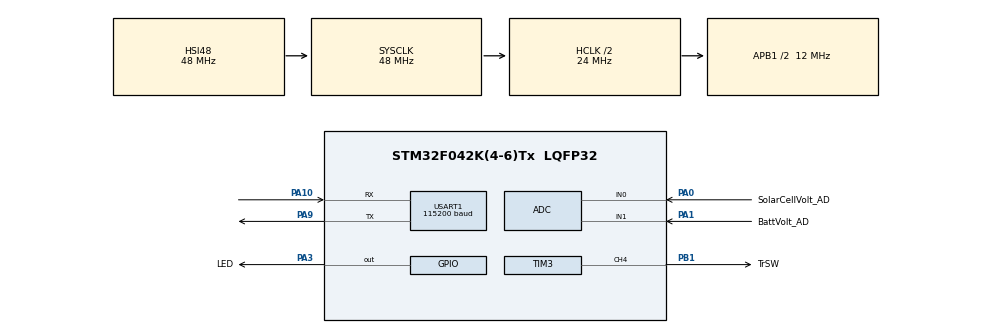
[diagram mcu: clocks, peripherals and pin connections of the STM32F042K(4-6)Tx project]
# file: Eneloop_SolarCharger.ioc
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ADC.ClockPrescaler=ADC_CLOCK_SYNC_PCLK_DIV4
ADC.ContinuousConvMode=ENABLE
ADC.DMAContinuousRequests=ENABLE
ADC.EOCSelection=ADC_EOC_SEQ_CONV
ADC.ExternalTrigConv=ADC_EXTERNALTRIGCONV_T1_TRGO
ADC.LowPowerAutoPowerOff=DISABLE
ADC.LowPowerAutoWait=DISABLE
ADC.SamplingTime=ADC_SAMPLETIME_55CYCLES_5
Dma.ADC.0.Direction=DMA_PERIPH_TO_MEMORY
Dma.ADC.0.Instance=DMA1_Channel1
Dma.ADC.0.MemDataAlignment=DMA_MDATAALIGN_HALFWORD
Dma.ADC.0.MemInc=DMA_MINC_ENABLE
Dma.ADC.0.Mode=DMA_CIRCULAR
Dma.ADC.0.PeriphDataAlignment=DMA_PDATAALIGN_HALFWORD
Dma.ADC.0.PeriphInc=DMA_PINC_DISABLE
Dma.ADC.0.Priority=DMA_PRIORITY_HIGH
Dma.Request0=ADC
Mcu.Family=STM32F0
Mcu.Name=STM32F042K(4-6)Tx
Mcu.Package=LQFP32
NVIC.ADC1_IRQn=true\:0\:0\:false\:false\:true\:true\:true
NVIC.DMA1_Channel1_IRQn=true\:0\:0\:false\:false\:true\:false\:true
NVIC.TIM14_IRQn=true\:0\:0\:false\:false\:true\:true\:true
PA0.GPIO_Label=SolarCellVolt_AD
PA0.Mode=IN0
PA0.Signal=ADC_IN0
PA1.GPIO_Label=BattVolt_AD
PA1.Mode=IN1
PA1.Signal=ADC_IN1
PA10.Mode=Asynchronous
PA10.Signal=USART1_RX
PA13.Mode=Serial_Wire
PA13.Signal=SYS_SWDIO
PA14.Mode=Serial_Wire
PA14.Signal=SYS_SWCLK
PA3.GPIO_Label=LED
PA3.GPIO_PuPd=GPIO_NOPULL
PA3.PinState=GPIO_PIN_SET
PA3.Signal=GPIO_Output
PA9.Mode=Asynchronous
PA9.Signal=USART1_TX
PB1.GPIO_Label=TrSW
PB1.GPIO_Speed=GPIO_SPEED_FREQ_HIGH
PB1.Signal=S_TIM3_CH4
ProjectManager.HeapSize=0x200
ProjectManager.StackSize=0x400
ProjectManager.TargetToolchain=Makefile
RCC.AHBCLKDivider=RCC_SYSCLK_DIV2
RCC.AHBFreq_Value=24000000
RCC.APB1CLKDivider=RCC_HCLK_DIV2
RCC.APB1Freq_Value=12000000
RCC.APB1TimFreq_Value=24000000
RCC.HCLKFreq_Value=24000000
RCC.SYSCLKFreq_VALUE=48000000
RCC.SYSCLKSource=RCC_SYSCLKSOURCE_HSI48
SH.S_TIM3_CH4.0=TIM3_CH4,PWM Generation4 CH4
TIM1.AutoReloadPreload=TIM_AUTORELOAD_PRELOAD_ENABLE
TIM1.Period=1000-1
TIM1.Prescaler=24-1
TIM1.TIM_MasterOutputTrigger=TIM_TRGO_UPDATE
TIM14.AutoReloadPreload=TIM_AUTORELOAD_PRELOAD_ENABLE
TIM14.Period=1000-1
TIM14.Prescaler=24-1
TIM3.AutoReloadPreload=TIM_AUTORELOAD_PRELOAD_ENABLE
TIM3.Channel-PWM\ Generation4\ CH4=TIM_CHANNEL_4
TIM3.OCPolarity_4=TIM_OCPOLARITY_LOW
TIM3.Period=(24*20)-1
TIM3.Prescaler=0
TIM3.TIM_MasterOutputTrigger=TIM_TRGO_RESET
USART1.BaudRate=115200
USART1.DMADisableonRxErrorParam=ADVFEATURE_DMA_DISABLEONRXERROR
USART1.OverrunDisableParam=ADVFEATURE_OVERRUN_DISABLE
USART1.VirtualMode-Asynchronous=VM_ASYNC
VP_ADC_TempSens_Input.Mode=IN-TempSens
VP_ADC_Vref_Input.Mode=IN-Vrefint
VP_TIM14_VS_ClockSourceINT.Mode=Enable_Timer
VP_TIM1_VS_ClockSourceINT.Mode=Internal
board=custom

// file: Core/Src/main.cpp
/* USER CODE BEGIN Header */
/**
  ******************************************************************************
  * @file           : main.c
  * @brief          : Main program body
  ******************************************************************************
  * @attention
  *
  * <h2><center>&copy; Copyright (c) 2020 STMicroelectronics.
  * All rights reserved.</center></h2>
  *
  * This software component is licensed by ST under BSD 3-Clause license,
  * the "License"; You may not use this file except in compliance with the
  * License. You may obtain a copy of the License at:
  *                        opensource.org/licenses/BSD-3-Clause
  *
  ******************************************************************************
  */
/* USER CODE END Header */

#include "main.h"

/* USER CODE BEGIN Includes */
#include <algorithm>
#include <xprintf.h>
#include <UARTOut.hpp>
/* USER CODE END Includes */

ADC_HandleTypeDef hadc;
DMA_HandleTypeDef hdma_adc;

TIM_HandleTypeDef htim1;
TIM_HandleTypeDef htim3;
TIM_HandleTypeDef htim14;

UART_HandleTypeDef huart1;

/* USER CODE BEGIN PV */
static constexpr uint32_t sk_BattChargeFinishTime = 500;       // バッテリ充電終了判定時間[10ms]

// ローパスフィルタの定数
// Cutoff   = 0.01s  = 100[Hz]
// Sampling = 0.1ms  = 0.0001[s]
// Const = (Cutoff / (Cutoff + Sampling)) = 0.909091 ≒ 0.909
static constexpr uint32_t sk_LPF_Precision          = 1000;
static constexpr uint32_t sk_SolarPanelVoltLPFConst = 909;
static constexpr uint32_t sk_BattVoltLPFConst       = 909;
static constexpr uint32_t sk_ADCRefVoltLPFConst     = 909;

static constexpr uint32_t sk_SolarPanelOpenVoltDiff = 10;               // 開放電圧測定時差分電圧[mV]
static constexpr uint32_t sk_SolarPanelOpenVoltSensStableTime = 5;      // 開放電圧測定安定回数

static constexpr uint32_t sk_ADC_Covnert_DataSize = 4;
static uint16_t s_ADC_ConvertData[sk_ADC_Covnert_DataSize];

static int s_10msTickCount = 0;
static bool s_10msHandlerInvoke = false;
static int s_100msTickCount = 0;
static bool s_100msHandlerInvoke = false;
static int s_1sTickCount = 0;
static bool s_1sHandlerInvoke = false;

static uint32_t s_LED_BlinkTime = 0;                        // LED 点滅時間[10ms]
static uint32_t s_LED_BlinkCnt = 0;
static int s_LED_Light = 0;

static uint32_t s_MPPT_PWMWidth = 0;

static uint32_t s_BattMillVolt = 0;
static uint32_t s_BattChargeFinishMillVolt = 1450;
static uint32_t s_BattChargeFinishCnt = 0;
static bool s_IsBattChargeFinish = false;

static uint32_t s_SolarPanelMillVolt = 0;
static uint32_t s_SolarPanel_MPPT_TargetMillVolt = 0;
static bool s_IsSolarPanelOpenVoltSensing = false;
static bool s_IsSolarPanelVoltDetect = false;
static uint32_t s_SolarPanelVoltSensCnt = 0;
static uint16_t s_SolarPanelVoltBuffBefore;
static uint16_t s_SolarPanelVoltBuff;

static uint32_t s_ADCRefMillVolt = 0;

/* USER CODE END PV */

void SystemClock_Config(void);
static void MX_GPIO_Init(void);
static void MX_DMA_Init(void);
static void MX_ADC_Init(void);
static void MX_TIM3_Init(void);
static void MX_USART1_UART_Init(void);
static void MX_TIM1_Init(void);
static void MX_TIM14_Init(void);
/* USER CODE BEGIN PFP */
static void PWM_SetValue( uint32_t value );
static void MPPT_SetPWMWidth();
static void MPPT_CheckSolarPanelMPPTVolt();
static void CheckBattChargeFinished();
static void Set_LEDBlinkTime( uint32_t time_ms );
static void Update_LED();
static void Show_LED();
static void Show_Voltage();
static uint32_t SenseSolarPanelOpenVolt();
static uint32_t SolarPanel_ADCValToMillVolt( uint32_t adcval );
static uint32_t Batt_ADCValToMillVolt( uint32_t adcval );
static uint32_t Get_SolarPanelPWMScale();
static uint32_t Get_SolarPanelVolt();

static void MsTimerHandler();
void HAL_TIM_PeriodElapsedCallback(TIM_HandleTypeDef *htim);
void HAL_ADC_ConvHalfCpltCallback(ADC_HandleTypeDef* hadc);
/* USER CODE END PFP */

int main(void)
{

  /* MCU Configuration--------------------------------------------------------*/

  /* Reset of all peripherals, Initializes the Flash interface and the Systick. */
  HAL_Init();

  /* Configure the system clock */
  SystemClock_Config();

  /* Initialize all configured peripherals */
  MX_GPIO_Init();
  MX_DMA_Init();
  MX_ADC_Init();
  MX_TIM3_Init();
  MX_USART1_UART_Init();
  MX_TIM1_Init();
  MX_TIM14_Init();
  /* USER CODE BEGIN 2 */

  // PWM Timer Start
  HAL_TIM_PWM_Start( &htim3, TIM_CHANNEL_4 );
  HAL_TIM_Base_Start_IT(&htim1);
  HAL_TIM_Base_Start_IT(&htim3);
  HAL_TIM_Base_Start_IT(&htim14);

  HAL_ADCEx_Calibration_Start(&hadc);

  HAL_ADC_Start_DMA( &hadc,
                     (uint32_t *)s_ADC_ConvertData,
                     sk_ADC_Covnert_DataSize
  );

  // xprintf initialize (set callback func)
  xfunc_out = OutputFunc;

  xprintf( "Initialize complete!\n" );

  /* USER CODE END 2 */

  /* Infinite loop */
  /* USER CODE BEGIN WHILE */
  while (1)
  {
    if( s_10msHandlerInvoke ){
      //xprintf( "10ms handler invoke.\n" );
      s_10msHandlerInvoke = false;

      if( s_IsBattChargeFinish ){
        // PWMを停止
        s_MPPT_PWMWidth = 0;
        PWM_SetValue( s_MPPT_PWMWidth );
        Set_LEDBlinkTime( 100 );
      }
      else {
        MPPT_SetPWMWidth();
        CheckBattChargeFinished();
        Set_LEDBlinkTime( 0 );
      }

      Update_LED();
    }
    if( s_100msHandlerInvoke ){
      xprintf( "100ms handler invoke.\n" );
      s_100msHandlerInvoke = false;
      MPPT_CheckSolarPanelMPPTVolt();
    }
    if( s_1sHandlerInvoke ){
      xprintf( "1s handler invoke.\n" );
      s_1sHandlerInvoke = false;
      Show_Voltage();
    }

    Show_LED();
    /* USER CODE END WHILE */

    /* USER CODE BEGIN 3 */
  }

  asm( "wfi ");
  /* USER CODE END 3 */
}

void SystemClock_Config(void)
{
  RCC_OscInitTypeDef RCC_OscInitStruct = {0};
  RCC_ClkInitTypeDef RCC_ClkInitStruct = {0};
  RCC_PeriphCLKInitTypeDef PeriphClkInit = {0};

  /** Initializes the RCC Oscillators according to the specified parameters
  * in the RCC_OscInitTypeDef structure.
  */
  RCC_OscInitStruct.OscillatorType = RCC_OSCILLATORTYPE_HSI48;
  RCC_OscInitStruct.HSI48State = RCC_HSI48_ON;
  RCC_OscInitStruct.PLL.PLLState = RCC_PLL_NONE;
  if (HAL_RCC_OscConfig(&RCC_OscInitStruct) != HAL_OK)
  {
    Error_Handler();
  }
  /** Initializes the CPU, AHB and APB buses clocks
  */
  RCC_ClkInitStruct.ClockType = RCC_CLOCKTYPE_HCLK|RCC_CLOCKTYPE_SYSCLK
                              |RCC_CLOCKTYPE_PCLK1;
  RCC_ClkInitStruct.SYSCLKSource = RCC_SYSCLKSOURCE_HSI48;
  RCC_ClkInitStruct.AHBCLKDivider = RCC_SYSCLK_DIV2;
  RCC_ClkInitStruct.APB1CLKDivider = RCC_HCLK_DIV2;

  if (HAL_RCC_ClockConfig(&RCC_ClkInitStruct, FLASH_LATENCY_1) != HAL_OK)
  {
    Error_Handler();
  }
  PeriphClkInit.PeriphClockSelection = RCC_PERIPHCLK_USART1;
  PeriphClkInit.Usart1ClockSelection = RCC_USART1CLKSOURCE_PCLK1;
  if (HAL_RCCEx_PeriphCLKConfig(&PeriphClkInit) != HAL_OK)
  {
    Error_Handler();
  }
}

static void MX_ADC_Init(void)
{

  ADC_ChannelConfTypeDef sConfig = {0};

  /** Configure the global features of the ADC (Clock, Resolution, Data Alignment and number of conversion)
  */
  hadc.Instance = ADC1;
  hadc.Init.ClockPrescaler = ADC_CLOCK_SYNC_PCLK_DIV4;
  hadc.Init.Resolution = ADC_RESOLUTION_12B;
  hadc.Init.DataAlign = ADC_DATAALIGN_RIGHT;
  hadc.Init.ScanConvMode = ADC_SCAN_DIRECTION_FORWARD;
  hadc.Init.EOCSelection = ADC_EOC_SEQ_CONV;
  hadc.Init.LowPowerAutoWait = DISABLE;
  hadc.Init.LowPowerAutoPowerOff = DISABLE;
  hadc.Init.ContinuousConvMode = ENABLE;
  hadc.Init.DiscontinuousConvMode = DISABLE;
  hadc.Init.ExternalTrigConv = ADC_EXTERNALTRIGCONV_T1_TRGO;
  hadc.Init.ExternalTrigConvEdge = ADC_EXTERNALTRIGCONVEDGE_RISING;
  hadc.Init.DMAContinuousRequests = ENABLE;
  hadc.Init.Overrun = ADC_OVR_DATA_PRESERVED;
  if (HAL_ADC_Init(&hadc) != HAL_OK)
  {
    Error_Handler();
  }
  /** Configure for the selected ADC regular channel to be converted.
  */
  sConfig.Channel = ADC_CHANNEL_0;
  sConfig.Rank = ADC_RANK_CHANNEL_NUMBER;
  sConfig.SamplingTime = ADC_SAMPLETIME_55CYCLES_5;
  if (HAL_ADC_ConfigChannel(&hadc, &sConfig) != HAL_OK)
  {
    Error_Handler();
  }
  /** Configure for the selected ADC regular channel to be converted.
  */
  sConfig.Channel = ADC_CHANNEL_1;
  if (HAL_ADC_ConfigChannel(&hadc, &sConfig) != HAL_OK)
  {
    Error_Handler();
  }
  /** Configure for the selected ADC regular channel to be converted.
  */
  sConfig.Channel = ADC_CHANNEL_TEMPSENSOR;
  if (HAL_ADC_ConfigChannel(&hadc, &sConfig) != HAL_OK)
  {
    Error_Handler();
  }
  /** Configure for the selected ADC regular channel to be converted.
  */
  sConfig.Channel = ADC_CHANNEL_VREFINT;
  if (HAL_ADC_ConfigChannel(&hadc, &sConfig) != HAL_OK)
  {
    Error_Handler();
  }

}

static void MX_TIM1_Init(void)
{

  TIM_ClockConfigTypeDef sClockSourceConfig = {0};
  TIM_MasterConfigTypeDef sMasterConfig = {0};

  htim1.Instance = TIM1;
  htim1.Init.Prescaler = 24-1;
  htim1.Init.CounterMode = TIM_COUNTERMODE_UP;
  htim1.Init.Period = 100-1;
  htim1.Init.ClockDivision = TIM_CLOCKDIVISION_DIV1;
  htim1.Init.RepetitionCounter = 0;
  htim1.Init.AutoReloadPreload = TIM_AUTORELOAD_PRELOAD_ENABLE;
  if (HAL_TIM_Base_Init(&htim1) != HAL_OK)
  {
    Error_Handler();
  }
  sClockSourceConfig.ClockSource = TIM_CLOCKSOURCE_INTERNAL;
  if (HAL_TIM_ConfigClockSource(&htim1, &sClockSourceConfig) != HAL_OK)
  {
    Error_Handler();
  }
  sMasterConfig.MasterOutputTrigger = TIM_TRGO_UPDATE;
  sMasterConfig.MasterSlaveMode = TIM_MASTERSLAVEMODE_DISABLE;
  if (HAL_TIMEx_MasterConfigSynchronization(&htim1, &sMasterConfig) != HAL_OK)
  {
    Error_Handler();
  }

}

static void MX_TIM3_Init(void)
{

  TIM_MasterConfigTypeDef sMasterConfig = {0};
  TIM_OC_InitTypeDef sConfigOC = {0};

  htim3.Instance = TIM3;
  htim3.Init.Prescaler = 0;
  htim3.Init.CounterMode = TIM_COUNTERMODE_UP;
  htim3.Init.Period = (24*50)-1;
  htim3.Init.ClockDivision = TIM_CLOCKDIVISION_DIV1;
  htim3.Init.AutoReloadPreload = TIM_AUTORELOAD_PRELOAD_ENABLE;
  if (HAL_TIM_PWM_Init(&htim3) != HAL_OK)
  {
    Error_Handler();
  }
  sMasterConfig.MasterOutputTrigger = TIM_TRGO_RESET;
  sMasterConfig.MasterSlaveMode = TIM_MASTERSLAVEMODE_DISABLE;
  if (HAL_TIMEx_MasterConfigSynchronization(&htim3, &sMasterConfig) != HAL_OK)
  {
    Error_Handler();
  }
  sConfigOC.OCMode = TIM_OCMODE_PWM1;
  sConfigOC.Pulse = 0;
  sConfigOC.OCPolarity = TIM_OCPOLARITY_HIGH;
  sConfigOC.OCFastMode = TIM_OCFAST_DISABLE;
  if (HAL_TIM_PWM_ConfigChannel(&htim3, &sConfigOC, TIM_CHANNEL_4) != HAL_OK)
  {
    Error_Handler();
  }
  HAL_TIM_MspPostInit(&htim3);

}

static void MX_TIM14_Init(void)
{

  htim14.Instance = TIM14;
  htim14.Init.Prescaler = 24-1;
  htim14.Init.CounterMode = TIM_COUNTERMODE_UP;
  htim14.Init.Period = 1000-1;
  htim14.Init.ClockDivision = TIM_CLOCKDIVISION_DIV1;
  htim14.Init.AutoReloadPreload = TIM_AUTORELOAD_PRELOAD_ENABLE;
  if (HAL_TIM_Base_Init(&htim14) != HAL_OK)
  {
    Error_Handler();
  }

}

static void MX_USART1_UART_Init(void)
{

  huart1.Instance = USART1;
  huart1.Init.BaudRate = 115200;
  huart1.Init.WordLength = UART_WORDLENGTH_8B;
  huart1.Init.StopBits = UART_STOPBITS_1;
  huart1.Init.Parity = UART_PARITY_NONE;
  huart1.Init.Mode = UART_MODE_TX_RX;
  huart1.Init.HwFlowCtl = UART_HWCONTROL_NONE;
  huart1.Init.OverSampling = UART_OVERSAMPLING_16;
  huart1.Init.OneBitSampling = UART_ONE_BIT_SAMPLE_DISABLE;
  huart1.AdvancedInit.AdvFeatureInit = UART_ADVFEATURE_RXOVERRUNDISABLE_INIT|UART_ADVFEATURE_DMADISABLEONERROR_INIT;
  huart1.AdvancedInit.OverrunDisable = UART_ADVFEATURE_OVERRUN_DISABLE;
  huart1.AdvancedInit.DMADisableonRxError = UART_ADVFEATURE_DMA_DISABLEONRXERROR;
  if (HAL_UART_Init(&huart1) != HAL_OK)
  {
    Error_Handler();
  }

}

static void MX_DMA_Init(void)
{

  /* DMA controller clock enable */
  __HAL_RCC_DMA1_CLK_ENABLE();

  /* DMA interrupt init */
  /* DMA1_Channel1_IRQn interrupt configuration */
  HAL_NVIC_SetPriority(DMA1_Channel1_IRQn, 0, 0);
  HAL_NVIC_EnableIRQ(DMA1_Channel1_IRQn);

}

static void MX_GPIO_Init(void)
{
  GPIO_InitTypeDef GPIO_InitStruct = {0};

  /* GPIO Ports Clock Enable */
  __HAL_RCC_GPIOA_CLK_ENABLE();
  __HAL_RCC_GPIOB_CLK_ENABLE();

  /*Configure GPIO pin Output Level */
  HAL_GPIO_WritePin(LED_GPIO_Port, LED_Pin, GPIO_PIN_SET);

  /*Configure GPIO pin : LED_Pin */
  GPIO_InitStruct.Pin = LED_Pin;
  GPIO_InitStruct.Mode = GPIO_MODE_OUTPUT_PP;
  GPIO_InitStruct.Pull = GPIO_NOPULL;
  GPIO_InitStruct.Speed = GPIO_SPEED_FREQ_LOW;
  HAL_GPIO_Init(LED_GPIO_Port, &GPIO_InitStruct);

}

/* USER CODE BEGIN 4 */

static void PWM_SetValue( uint32_t duty )
{
    TIM_OC_InitTypeDef sConfigOC;

    if( htim3.Init.Period < duty ){
      duty = htim3.Init.Period;
    }

    sConfigOC.OCMode = TIM_OCMODE_PWM1;
    sConfigOC.Pulse = duty;
    sConfigOC.OCPolarity = TIM_OCPOLARITY_HIGH;
    sConfigOC.OCFastMode = TIM_OCFAST_DISABLE;
    HAL_TIM_PWM_ConfigChannel(&htim3, &sConfigOC, TIM_CHANNEL_4);
    HAL_TIM_PWM_Start(&htim3, TIM_CHANNEL_4);
}

static void MPPT_SetPWMWidth()
{
  uint32_t current_millvolt = Get_SolarPanelVolt();

  if( current_millvolt > s_SolarPanel_MPPT_TargetMillVolt ){
    //uint32_t diff = current_millvolt - s_SolarPanel_MPPT_TargetMillVolt;
    //uint32_t pwm  = diff * 100 / 4167;
    s_MPPT_PWMWidth = s_MPPT_PWMWidth + 1 < Get_SolarPanelPWMScale() ? s_MPPT_PWMWidth + 1 : Get_SolarPanelPWMScale();
  }
  else {
    //uint32_t diff = s_SolarPanel_MPPT_TargetMillVolt - current_millvolt;
    //uint32_t pwm  = diff * 100 / 4167;
    s_MPPT_PWMWidth = s_MPPT_PWMWidth > 0 ? s_MPPT_PWMWidth - 1 : 0;
  }

  PWM_SetValue( s_MPPT_PWMWidth );
}

static void MPPT_CheckSolarPanelMPPTVolt()
{
  uint32_t open_millvolt = 0;
  uint32_t target_volt = 0;

  open_millvolt = SenseSolarPanelOpenVolt();
  target_volt = (open_millvolt * 83 / 100);     // 解放電圧の0.83倍の電圧を目標にする

  // 2.4V 以下だとマイコンが動作できないので、2.4V以上を目標にする
  if( target_volt < 2400 ){
    target_volt = 2400;
  }

  s_SolarPanel_MPPT_TargetMillVolt = target_volt;
}

static void CheckBattChargeFinished()
{
  if( s_BattMillVolt >= s_BattChargeFinishMillVolt ){
    ++s_BattChargeFinishCnt;
    if( s_BattChargeFinishCnt >= sk_BattChargeFinishTime ){
      s_IsBattChargeFinish = true;
    }
  }
  else {
    s_IsBattChargeFinish  = false;
    s_BattChargeFinishCnt = 0;
  }
}

static void Set_LEDBlinkTime( uint32_t time_ms )
{
  if( s_LED_BlinkTime != time_ms ){
    s_LED_BlinkTime = time_ms;
    s_LED_BlinkCnt  = 0;
  }
}

static void Update_LED()
{
  if( s_LED_BlinkTime > 0 ){
    ++s_LED_BlinkCnt;
    if( s_LED_BlinkCnt >= s_LED_BlinkTime ){
      s_LED_Light = s_LED_Light ? 0 : 1;
      s_LED_BlinkCnt = 0;
    }
  }
  else {
    s_LED_BlinkCnt = 0;
  }
}

static void Show_LED()
{
  if( s_LED_BlinkTime > 0 ){
    HAL_GPIO_WritePin(LED_GPIO_Port, LED_Pin, static_cast<GPIO_PinState>(s_LED_Light));
  }
  else {
    HAL_GPIO_WritePin(LED_GPIO_Port, LED_Pin, GPIO_PIN_RESET);
  }
}

static void Show_Voltage()
{
  if( s_IsBattChargeFinish ){
    xprintf( "Battery Charge Finished\n" );
  }
  else {
    xprintf( "Battery Charging [%d]\n", s_BattChargeFinishCnt );
  }
  xprintf( "SolarPanel Voltage  : %u\n", s_SolarPanelMillVolt );
  xprintf( "Batt Voltage        : %u\n", s_BattMillVolt );
  xprintf( "MPPT Target Voltage : %u\n", s_SolarPanel_MPPT_TargetMillVolt );
  xprintf( "ADC RefMillVolt     : %u\n", s_ADCRefMillVolt );

  for( int i = 0; i < 4; ++i ){
    xprintf( "ADC RawValue[%d]: %u\n", i, s_ADC_ConvertData[i] );
  }
}

static uint32_t SenseSolarPanelOpenVolt()
{
  s_IsSolarPanelOpenVoltSensing = true;
  s_SolarPanelVoltSensCnt = 0;
  PWM_SetValue( 0 );

  while( 1 ) {
    if( s_IsSolarPanelVoltDetect ){
      // 電圧の差分を取得
      uint32_t diff = std::max( s_SolarPanelVoltBuff, s_SolarPanelVoltBuffBefore ) - std::min( s_SolarPanelVoltBuff, s_SolarPanelVoltBuffBefore );

      // 開放電圧が安定するまで測定を繰り返す
      if( diff < sk_SolarPanelOpenVoltDiff ){
        s_SolarPanelVoltSensCnt++;
        if( s_SolarPanelVoltSensCnt > sk_SolarPanelOpenVoltSensStableTime ){
          break;
        }
      }
      else {
        s_SolarPanelVoltSensCnt = 0;
      }

      s_SolarPanelVoltBuffBefore = s_SolarPanelVoltBuff;
      s_IsSolarPanelVoltDetect = false;
    }
    asm( "wfi" );
  }

  PWM_SetValue( s_MPPT_PWMWidth );
  s_IsSolarPanelOpenVoltSensing = false;

  return SolarPanel_ADCValToMillVolt( s_SolarPanelVoltBuff );
}

static uint32_t SolarPanel_ADCValToMillVolt( uint32_t adcval )
{
  // 5V -> 1k / 1k の分圧で 降圧
  // adcRefVoltの2倍の電圧がフルスケール
  //static constexpr float sk_Scale = ((6.6f / 4096.0f) * 1000.0f);
  // return (sk_Scale * adcval) + 0.5f;

  return (adcval * (s_ADCRefMillVolt * 2)) / 4096;
}

static uint32_t Batt_ADCValToMillVolt( uint32_t adcval )
{
  // adcRefVolt フルスケール
  //static constexpr float sk_Scale = ((3.3f / 4096.0f) * 1000.0f);
  //return (sk_Scale * (float)adcval) + 0.5f;

  return (adcval * (s_ADCRefMillVolt)) / 4096;
}

static uint32_t ADCRef_ADCValToMillVolt( uint32_t adcval )
{
  static __IO uint16_t* vrefcal = (__IO uint16_t*)0x1FFFF7BA;
  return 3300 * (*vrefcal) / adcval;
}

static uint32_t Get_SolarPanelPWMScale()
{
  return htim3.Init.Period;
}

static uint32_t Get_SolarPanelVolt()
{
  return s_SolarPanelMillVolt;
}

static void MsTimerHandler()
{
  if( !s_IsBattChargeFinish && !s_IsSolarPanelOpenVoltSensing ){
    MPPT_SetPWMWidth();
  }

  ++s_10msTickCount;
  if( s_10msTickCount >= 10 ){
    s_10msTickCount = 0;
    s_10msHandlerInvoke = true;
  }

  ++s_100msTickCount;
  if( s_100msTickCount >= 100 ){
    s_100msTickCount = 0;
    s_100msHandlerInvoke = true;
  }

  ++s_1sTickCount;
  if( s_1sTickCount >= 1000 ){
    s_1sTickCount = 0;
    s_1sHandlerInvoke = true;
  }
}

// interrupt handlers
void HAL_TIM_PeriodElapsedCallback(TIM_HandleTypeDef *htim)
{
  if( htim->Instance == TIM14 ){
    MsTimerHandler();
  }
}

void HAL_ADC_ConvCpltCallback(ADC_HandleTypeDef* hadc)
{
  // user defined interrupt handler
  uint32_t millvolt = 0;

  // SolarPanel voltage sensing
  if( s_IsSolarPanelOpenVoltSensing && !s_IsSolarPanelVoltDetect ){
    s_SolarPanelVoltBuff = s_ADC_ConvertData[0];
    s_IsSolarPanelVoltDetect = true;
  }
  else {
    millvolt = SolarPanel_ADCValToMillVolt( s_ADC_ConvertData[0] );
    s_SolarPanelMillVolt = millvolt; //(((sk_LPF_Precision - sk_SolarPanelVoltLPFConst) * millvolt) + (sk_SolarPanelVoltLPFConst * s_SolarPanelMillVolt)) / sk_LPF_Precision;
    s_SolarPanelVoltSensCnt = 0;
  }

  // Batt voltage sensing
  millvolt = Batt_ADCValToMillVolt( s_ADC_ConvertData[1] );
  s_BattMillVolt = millvolt; //(((sk_LPF_Precision - sk_BattVoltLPFConst) * millvolt) + (sk_BattVoltLPFConst * s_BattMillVolt)) / sk_LPF_Precision;

  // ADCRef voltage sensing
  millvolt = ADCRef_ADCValToMillVolt( s_ADC_ConvertData[3] );
  s_ADCRefMillVolt = millvolt; //(((sk_LPF_Precision - sk_ADCRefVoltLPFConst) * millvolt) + (sk_ADCRefVoltLPFConst * s_ADCRefMillVolt)) / sk_LPF_Precision;
}

/* USER CODE END 4 */

void Error_Handler(void)
{
}

/************************ (C) COPYRIGHT STMicroelectronics *****END OF FILE****/
